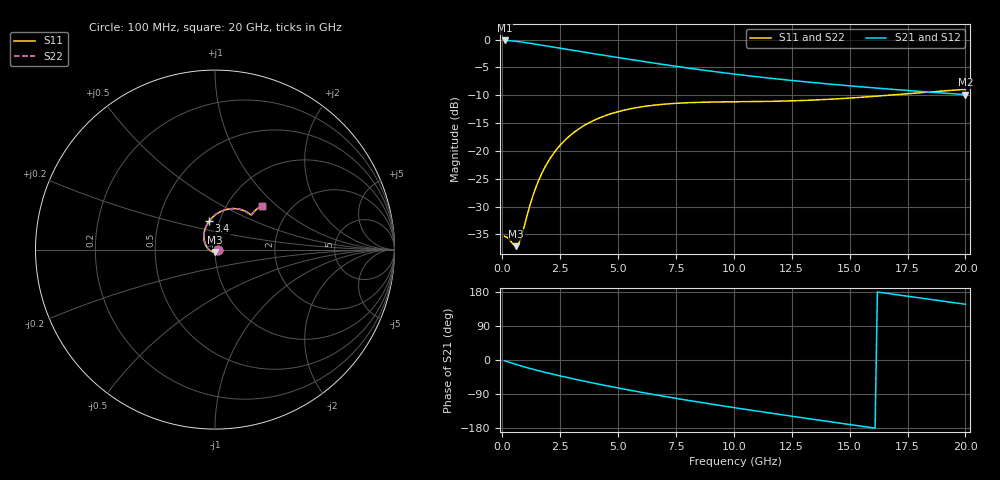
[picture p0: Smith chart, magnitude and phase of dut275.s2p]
! Touchstone file exported from HFSS 2023.1.0
!  File:  D:/Users/fzz/RDL_TSV/temp_RDL_TSV_275_1778762127.aedt
!  Generated:  8:44:54 %x4E0B%x5348  5%x6708 14, 2026
!  Design:  RDL_TSV
!  Project:  temp_RDL_TSV_275_1778762127
!  Setup:  Setup1
!  Solution:  Sweep
! Variables:
!  dtsv = 18.07um
!  hbump = 3um
!  htsv = 71.3um
!  ldown = 335.58um
!  lrdl = 404.52um
!  p = 40
!  p1 = 48.47um
!  rhole = 10um
!  subl = 2624.82um
!  t = 450um
!  tdown = 4.44um
!  trdl = 3.79um
!  viad = 10um
!  wdown = 15.9um
!  wrdl = 12.37um
!  xbump = 18um
# GHz S MA R 50.000000
! Terminal data exported
! Port[1] = TM1_1_T1
! Port[2] = TM1_4_T1
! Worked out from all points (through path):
!   200 points, 100 MHz to 20 GHz, reference 50 ohm
!   highest |S21| = -0.16 dB at 100 MHz (marker M1); lowest = -9.9 dB at 20 GHz (marker M2)
!   group delay of S21, straight-line fit = 27.9 ps
!   lowest |S11| = -37.1 dB at 600 MHz (marker M3), VSWR 1.03, Z = 50.1 - j1.39 ohm
!   |S11| at or under -10 dB: start of sweep to 16.69 GHz
!   |S22| runs from -37.1 to -8.9 dB; largest |S21 - S12| = 2.1e-14
!   S11 on the Smith chart (normalised r, x): 100 MHz: 1.03, -0.01; 3.4 GHz: 0.89, +0.29; 20 GHz: 1.45, +0.80
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0.1  0.01708 -9.6  0.9821 -2.0  0.9821 -2.0  0.01708 -9.6
! Gamma 0 0 0 0
! Port Impedance 50 0 50 0
0.6  0.01392 -84.7  0.9646 -11.8  0.9646 -11.8  0.01392 -84.7
0.7  0.01452 -106.1  0.9592 -13.6  0.9592 -13.6  0.01452 -106.2
0.8  0.01632 -126.5  0.9533 -15.4  0.9533 -15.4  0.01632 -126.5
1.2  0.03279 -178.6  0.9264 -22.4  0.9264 -22.4  0.03282 -178.7
1.4  0.04403 166.7  0.912 -25.7  0.912 -25.7  0.04407 166.7
1.6  0.05614 155.4  0.8974 -28.8  0.8974 -28.8  0.05619 155.4
1.9  0.07503 142.0  0.8759 -33.4  0.8759 -33.4  0.07509 142.0
2.2  0.09401 131.3  0.8549 -37.8  0.8549 -37.8  0.09409 131.3
2.6  0.1185 119.5  0.8283 -43.4  0.8283 -43.4  0.1186 119.6
3.4  0.1624 101.4  0.7785 -54.1  0.7785 -54.1  0.1626 101.5
3.5  0.1673 99.5  0.7726 -55.4  0.7726 -55.4  0.1675 99.6
4.2  0.1979 87.8  0.7325 -64.2  0.7325 -64.2  0.1981 87.9
5  0.225 77.1  0.6895 -73.8  0.6895 -73.8  0.2252 77.2
6.8  0.2606 60.2  0.6039 -93.9  0.6039 -93.9  0.261 60.3
8.4  0.2727 51.1  0.5412 -110.2  0.5412 -110.2  0.273 51.2
10.1  0.2764 45.9  0.4875 -126.5  0.4875 -126.5  0.2768 45.9
11.7  0.279 43.9  0.4468 -141.2  0.4468 -141.2  0.2794 44.0
13.4  0.2859 43.7  0.4115 -156.3  0.4115 -156.3  0.2864 43.8
15  0.2981 44.1  0.384 -170.2  0.384 -170.2  0.2987 44.2
16.7  0.3164 44.2  0.3592 175.1  0.3592 175.1  0.3171 44.3
20  0.3571 42.4  0.3204 147.1  0.3204 147.1  0.3582 42.5
